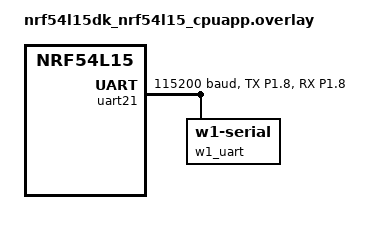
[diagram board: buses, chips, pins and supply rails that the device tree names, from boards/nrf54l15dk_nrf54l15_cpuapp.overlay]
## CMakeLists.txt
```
# SPDX-License-Identifier: Apache-2.0

cmake_minimum_required(VERSION 3.13.1)
find_package(Zephyr REQUIRED HINTS $ENV{ZEPHYR_BASE})
project(ds18b20)

FILE(GLOB app_sources src/*.c)
target_sources(app PRIVATE src/main.c)
```

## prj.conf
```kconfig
# --- 1-Wire core ---
CONFIG_W1=y
CONFIG_W1_NRF_GPIO=y
# --- UART / UARTE ---
CONFIG_SERIAL=y
CONFIG_UART_USE_RUNTIME_CONFIGURE=y   # REQUIRED for 1-Wire baud switching
CONFIG_W1_NRF_SERIAL=y

# --- Sensor subsystem + DS18B20 driver ---
CONFIG_SENSOR=y
CONFIG_DS18B20=n


# --- Float printing (temperature has fractional part) ---
CONFIG_CBPRINTF_FP_SUPPORT=y

# --- Logging ---
CONFIG_LOG=y
CONFIG_PRINTK=y

# Amount of connected devices to the one wire line
CONFIG_COUNT_CONNECTED_DEVICES=1

# ZTest
CONFIG_ZTEST=y

# CPU LOAD
CONFIG_CPU_LOAD=y
CONFIG_W1_NRF_GPIO_TIME_CRITICAL=y
CONFIG_W1_NRF_SERIAL_TIME_CRITICAL=y
CONFIG_W1_ZEPHYR_GPIO_TIME_CRITICAL=y

CONFIG_MPU_STACK_GUARD=y
CONFIG_STACK_SENTINEL=y
```

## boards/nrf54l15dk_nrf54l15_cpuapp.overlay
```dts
#include <zephyr/dt-bindings/pinctrl/nrf-pinctrl.h>

&pinctrl {
    uart21_default: uart21_default {
        group1 {
            psels = <NRF_PSEL(UART_TX, 1, 8)>,
                    <NRF_PSEL(UART_RX, 1, 8)>;
            nordic,drive-mode = <NRF_DRIVE_S0D1>;
        };
    };
    uart21_sleep: uart21_sleep {
        group1 {
            psels = <NRF_PSEL(UART_TX, 1, 8)>,
                    <NRF_PSEL(UART_RX, 1, 8)>;
            low-power-enable;
        };
    };
};

&uart21 {
    status = "okay";
    current-speed = <115200>;
    pinctrl-0 = <&uart21_default>;
    pinctrl-1 = <&uart21_sleep>;
    pinctrl-names = "default", "sleep";

    w1_uart: w1_uart {
        compatible = "zephyr,w1-serial";
        status = "okay";
    };
};
```

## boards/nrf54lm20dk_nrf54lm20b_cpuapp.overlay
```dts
&pinctrl {
    uart21_default: uart21_default {
        group1 {
            psels = <NRF_PSEL(UART_TX, 1, 3)>,
                    <NRF_PSEL(UART_RX, 1, 3)>;
            nordic,drive-mode = <NRF_DRIVE_S0D1>;
        };
    };
    uart21_sleep: uart21_sleep {
        group1 {
            psels = <NRF_PSEL(UART_TX, 1, 3)>,
                    <NRF_PSEL(UART_RX, 1, 3)>;
            low-power-enable;
        };
    };
};

w1_uart: &uart21 {
    compatible = "nrf,w1-serial";
    status = "okay";
    pinctrl-0 = <&uart21_default>;
    pinctrl-1 = <&uart21_sleep>;
    pinctrl-names = "default", "sleep";
    #address-cells = <1>;
    #size-cells = <0>;
    ds18b20_a: ds18b20@0 {
        compatible = "maxim,ds18b20";
        reg = <0>;
        resolution = <12>;
        status = "okay";
    };
};
```

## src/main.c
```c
/*
* Copyright (c) 2026, Nordic Semiconductor ASA
*
* SPDX-License-Identifier: Apache-2.0
*/
#include <zephyr/kernel.h>
#include <zephyr/device.h>
#include <zephyr/devicetree.h>
#include "my_ds18b20.c"
#include <zephyr/ztest.h>
#include <hal/nrf_gpio.h>
#include <zephyr/debug/cpu_load.h>

/*
 * If TESTS_INCLUDED equals 1 code includes tests, else it does not
 */

#define TESTS_INCLUDED 1

void w1_test_gpio_pins_setup(void);

const struct device * bus;

static struct ds18b20_config cfg = {
    .resolution = 12,
    .family     = 0x28,
};
static struct ds18b20_data data = {0};

static void *ds18b20_setup(void){
    bus = DEVICE_DT_GET(DT_NODELABEL(w1_uart));

    zassert_true(device_is_ready(bus), "\nError: Device \"%s\" is not ready.\n", bus->name);

    #if (TESTS_INCLUDED)
    ds18b20_test_gpio_pins_setup();
    w1_test_gpio_pins_setup();
    #endif

    return NULL;
}

ZTEST(test_w1, single_read_test)
{
	// const struct device *bus = get_bus_device();
	zassert_not_null(bus, "Error: Device \"%s\" is not available.\n", bus->name);

    int status;

    if (!data.lazy_loaded) {
        status = ds18b20_configure(bus, &cfg, &data);

        zassert_true(status >= 0, "Error: I/O error.\n");
        data.lazy_loaded = true;
    }

    status = ds18b20_temperature_convert(bus, &data);

    zassert_true(status >= 0, "W1 convert error: %d\n", status);

    k_msleep(measure_wait_ms(&cfg));

    struct sensor_val temp;

    status = ds18b20_read_scratchpad(bus, &data, &data.scratchpad);

    zassert_true(status >= 0, "read_scratchpad() failed: %d\n", status);

    ds18b20_temperature_from_raw(&cfg, (uint8_t *)&data.scratchpad.temp,
                                 &temp);

    zassert_within(temp.val1, 25, 5, "Error: Read temperature (%d.%06d) is out of range", temp.val1, temp.val2);
}
#if 0
ZTEST(test_w1, multiple_read_test)
{
    // const struct device *bus = get_bus_device();
	zassert_not_null(bus, "Error: Device \"%s\" is not available.\n", bus->name);

    int status;

    if (!data.lazy_loaded) {
        status = ds18b20_configure(bus, &cfg, &data);
        zassert_true(status >= 0, "Error: I/O error.\n");
        data.lazy_loaded = true;
    }
    for (int i = 0; i < 5; i++)
    {
        status = ds18b20_temperature_convert(bus, &data);
        zassert_true(status >= 0, "W1 convert error: %d\n", status);

        k_msleep(measure_wait_ms(&cfg));

        struct sensor_val temp;

        status = ds18b20_read_scratchpad(bus, &data, &data.scratchpad);
        zassert_true(status >= 0, "read_scratchpad() failed: %d\n", status);

        ds18b20_temperature_from_raw(&cfg, (uint8_t *)&data.scratchpad.temp, &temp);

        zassert_within(temp.val1, 25, 5, "Error: Read temperature (%d.%06d) is out of range",
                       temp.val1, temp.val2);
    }
}
#endif
ZTEST_SUITE(test_w1, NULL, ds18b20_setup, NULL, NULL, NULL);
```

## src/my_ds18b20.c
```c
#include <stdbool.h>

#include <zephyr/device.h>
#include <zephyr/devicetree.h>
#include "zephyr/drivers/w1.h"
#include <zephyr/kernel.h>
#include <zephyr/logging/log.h>
#include <zephyr/sys/__assert.h>
#include <zephyr/sys/util_macro.h>
#include <zephyr/ztest.h>

#include <hal/nrf_gpio.h>
#include <zephyr/debug/cpu_load.h>

LOG_MODULE_REGISTER(MY_DS18B20, CONFIG_SENSOR_LOG_LEVEL);

#define DS18B20_CMD_CONVERT_T         0x44
#define DS18B20_CMD_WRITE_SCRATCHPAD  0x4E
#define DS18B20_CMD_READ_SCRATCHPAD   0xBE
#define DS18B20_CMD_COPY_SCRATCHPAD   0x48
#define DS18B20_CMD_RECALL_EEPROM     0xB8
#define DS18B20_CMD_READ_POWER_SUPPLY 0xB4

/* resolution is set using bit 5 and 6 of configuration register
 * macro only valid for values 9 to 12
 */
#define DS18B20_RESOLUTION_POS		5
#define DS18B20_RESOLUTION_MASK		(BIT_MASK(2) << DS18B20_RESOLUTION_POS)
/* convert resolution in bits to scratchpad config format */
#define DS18B20_RESOLUTION(res)		((res - 9) << DS18B20_RESOLUTION_POS)
/* convert resolution in bits to array index (for resolution specific elements) */
#define DS18B20_RESOLUTION_INDEX(res)	(res - 9)

#define DS18B20_FAMILYCODE 0x28
#define DS18S20_FAMILYCODE 0x10

/*
 * If TESTS_INCLUDED equals 1 code includes tests, else it does not
 */

#define TESTS_INCLUDED 1
/*
 * If TEST_MODE equals 1 it's a time test, if equals 0 it's a CPU LOAD test
 */

#define TEST_MODE 1

#if (TESTS_INCLUDED)
#if (TEST_MODE)
#define PIN1_14 NRF_GPIO_PIN_MAP(1, 14)
#define PIN1_12 NRF_GPIO_PIN_MAP(1, 12)
#define PIN3_02 NRF_GPIO_PIN_MAP(3, 2)
#define PIN3_00 NRF_GPIO_PIN_MAP(3, 0)
#define PIN3_06 NRF_GPIO_PIN_MAP(3, 6)
#define PIN3_10 NRF_GPIO_PIN_MAP(3, 10)

void ds18b20_test_gpio_pins_setup(void)
{
#if (TEST_MODE)
	nrf_gpio_cfg_output(PIN1_12);
	nrf_gpio_cfg_output(PIN1_14);
	nrf_gpio_cfg_output(PIN3_02);
	nrf_gpio_cfg_output(PIN3_00);
	nrf_gpio_cfg_output(PIN3_06);
	nrf_gpio_cfg_output(PIN3_10);
#endif
}
#else
static int load;
#endif
#endif


enum chip_type {type_ds18b20, type_ds18s20};

struct ds18b20_scratchpad {
	int16_t temp;
	uint8_t alarm_temp_high;
	uint8_t alarm_temp_low;
	uint8_t config;
	uint8_t res[3];
	uint8_t crc;
} __packed;

struct ds18b20_config {
	const struct device *bus;
	uint8_t family;
	uint8_t resolution;
	enum chip_type chip;
};

struct ds18b20_data {
	struct w1_slave_config config;
	struct ds18b20_scratchpad scratchpad;
	bool lazy_loaded;
};

struct sensor_val {
	int32_t val1;
	int32_t val2;
};

int ds18b20_configure(const struct device *bus,
		      		  struct ds18b20_config *cfg,
		      		  struct ds18b20_data  *data);
int ds18b20_read_scratchpad(const struct device *bus,
							struct ds18b20_data *data,
							struct ds18b20_scratchpad *scratchpad);

/* measure wait time for 9-bit, 10-bit, 11-bit, 12-bit resolution respectively */
static const uint16_t measure_wait_ds18b20_ms[4] = { 94, 188, 376, 750 };

/* ds18s20 always needs 750ms */
static const uint16_t measure_wait_ds18s20_ms = { 750 };

void ds18b20_temperature_from_raw(const struct ds18b20_config *cfg,
								  uint8_t *temp_raw,
								  struct sensor_val *val)
{
	int16_t temp = sys_get_le16 (temp_raw);

	if (cfg->chip == type_ds18s20) {
		val->val1 = temp / 2;
		val->val2 = (temp % 2) * 500000;
	} else {
		val->val1 = temp / 16;
		val->val2 = (temp % 16) * 1000000 / 16;
	}
}

static inline bool slave_responded(uint8_t *rx_buf, size_t len)
{
	uint8_t cmp_byte = 0xff;

	for (int i = 0; i < len; i++) {
		cmp_byte &= rx_buf[i];
	}

	return (cmp_byte == 0xff) ? false : true;
}

/*
 * Write scratch pad, read back, then copy to eeprom
 */
static int ds18b20_write_scratchpad(const struct device *bus,
									struct ds18b20_data *data,
									struct ds18b20_scratchpad scratchpad)
{

	int ret;
	uint8_t sp_data[4] = {
		DS18B20_CMD_WRITE_SCRATCHPAD,
		scratchpad.alarm_temp_high,
		scratchpad.alarm_temp_low,
		scratchpad.config
	};
	#if(TESTS_INCLUDED)
	#if(TEST_MODE)
	nrf_gpio_pin_set(PIN1_12);
	#else
	printk("Inside ds18b20_write_scratchpad()\n\r");
	(void)cpu_load_get(true);
	#endif
	#endif

	ret = w1_write_read(bus, &data->config, sp_data, sizeof(sp_data), NULL, 0);

	#if(TESTS_INCLUDED)
	#if(TEST_MODE)
	nrf_gpio_pin_clear(PIN1_12);
	#else
	load = cpu_load_get(true);
	printk("w1_write_read in ds18b20_write_scratchpad load: %d \n\r", load);
	#endif
	#endif

	if (ret != 0) {
		return ret;
	}

	#if(TESTS_INCLUDED)
	#if(TEST_MODE)
	nrf_gpio_pin_set(PIN1_14);
	#else
	(void)cpu_load_get(true);
	#endif
	#endif

	ret = ds18b20_read_scratchpad(bus, data, &scratchpad);

	#if(TESTS_INCLUDED)
	#if(TEST_MODE)
	nrf_gpio_pin_clear(PIN1_14);
	#else
	load = cpu_load_get(true);
	printk("ds18b20_read_scratchpad load: %d \n\r", load);
	#endif
	#endif

	if (ret != 0) {
		return ret;
	}

	if ((sp_data[3] & DS18B20_RESOLUTION_MASK) !=
	    (scratchpad.config & DS18B20_RESOLUTION_MASK)) {
		return -EIO;
	}


	return 0;
}

int ds18b20_read_scratchpad(const struct device *bus,
							struct ds18b20_data *data,
							struct ds18b20_scratchpad *scratchpad)
{
	int ret;
	uint8_t cmd = DS18B20_CMD_READ_SCRATCHPAD;
	uint8_t crc;

	memset(scratchpad, 0, sizeof(*scratchpad));

	#if(TESTS_INCLUDED)
	#if(TEST_MODE)
	nrf_gpio_pin_set(PIN3_00);
	#else
	printk("Inside ds18b20_read_scratchpad()\n\r");
	(void)cpu_load_get(true);
	#endif
	#endif

	ret = w1_write_read(bus, &data->config, &cmd, 1,
			     (uint8_t *)scratchpad, sizeof(*scratchpad));

	#if(TESTS_INCLUDED)
	#if(TEST_MODE)
	nrf_gpio_pin_clear(PIN3_00);
	#else
	load = cpu_load_get(true);
	printk("w1_write_read() in ds18b20_read_scratchpad() load: %d \n\r", load);
	#endif
	#endif

	if (ret != 0) {
		return ret;
	}

	if (!slave_responded((uint8_t *)scratchpad, sizeof(*scratchpad))) {
		LOG_WRN("Slave not reachable");
		return -ENODEV;
	}

	crc = w1_crc8((uint8_t *)scratchpad, sizeof(*scratchpad) - 1);

	if (crc != scratchpad->crc) {
		LOG_WRN("CRC does not match");
		return -EIO;
	}

	return 0;
}

/* Starts sensor temperature conversion without waiting for completion. */
int ds18b20_temperature_convert(const struct device *bus,
								struct ds18b20_data *data)
{
	int ret;

	(void)w1_lock_bus(bus);
	ret = w1_reset_select(bus, &data->config);
	if (ret != 0) {
		goto out;
	}
	ret = w1_write_byte(bus, DS18B20_CMD_CONVERT_T);
out:
	(void)w1_unlock_bus(bus);
	return ret;
}

/*
 * Write resolution into configuration struct,
 * but don't write it to the sensor yet.
 */
static void ds18b20_set_resolution(struct ds18b20_data *data, uint8_t resolution)
{
	data->scratchpad.config &= ~DS18B20_RESOLUTION_MASK;
	data->scratchpad.config |= DS18B20_RESOLUTION(resolution);
}

uint16_t measure_wait_ms(const struct ds18b20_config *cfg)
{
	if (cfg->chip == type_ds18s20) {
		return measure_wait_ds18s20_ms;
	}

	return measure_wait_ds18b20_ms[DS18B20_RESOLUTION_INDEX(cfg->resolution)];
}

int ds18b20_configure(const struct device *bus,
		      struct ds18b20_config *cfg,
		      struct ds18b20_data  *data)
{
	int ret;

	#if(TESTS_INCLUDED)
	#if(TEST_MODE)
	nrf_gpio_pin_set(PIN3_06);
	#else
	(void)cpu_load_get(true);
	#endif
	#endif

	int stat = w1_reset_bus(bus);

	#if(TESTS_INCLUDED)
	#if(TEST_MODE)
	nrf_gpio_pin_clear(PIN3_06);
	#else
	load = cpu_load_get(true);
	printk("w1_reset_bus() in ds18b20_configure() load: %d \n\r", load);
	#endif
	#endif

	zassert_false(stat <= 0, "No 1-Wire slaves connected\n");

	/* In single-drop configurations the ROM can be read from the device */
	if (w1_get_slave_count(bus) == 1) {
		if (w1_rom_to_uint64(&data->config.rom) == 0ULL) {
			#if(TESTS_INCLUDED)
			#if(TEST_MODE)
			nrf_gpio_pin_set(PIN3_10);
			#else
			(void)cpu_load_get(true);
			#endif
			#endif

			(void)w1_read_rom(bus, &data->config.rom);

			#if(TESTS_INCLUDED)
			#if(TEST_MODE)
			nrf_gpio_pin_clear(PIN3_10);
			#else
			load = cpu_load_get(true);
			printk("w1_read_rom in ds18b20_configure() load: %d \n\r", load);
			#endif
			#endif
		}
	}
	zassert_false(CONFIG_COUNT_CONNECTED_DEVICES > 1ULL,
		"ROM required, because multiple slaves are on the bus\n");

	/* write default configuration */
	if (cfg->chip == type_ds18b20) {
		#if(TESTS_INCLUDED)
		#if(!TEST_MODE)
		(void)cpu_load_get(true);
		#endif
		#endif

		ds18b20_set_resolution(data, cfg->resolution);

		#if(TESTS_INCLUDED)
		#if(TEST_MODE)
		nrf_gpio_pin_set(PIN3_02);
		#else
		load = cpu_load_get(true);
		printk("ds18b20_set_resolution() load: %d \n\r", load);
		(void)cpu_load_get(true);
		#endif
		#endif

		ret = ds18b20_write_scratchpad(bus, data, data->scratchpad);

		#if(TESTS_INCLUDED)
		#if(TEST_MODE)
		nrf_gpio_pin_clear(PIN3_02);
		#else
		load = cpu_load_get(true);
		printk("ds18b20_write_scratchpad() load: %d \n\r", load);
		#endif
		#endif

		return ret;
	}

	LOG_DBG("Init: ROM=%016llx", w1_rom_to_uint64(&data->config.rom));

	return 0;
}
```
